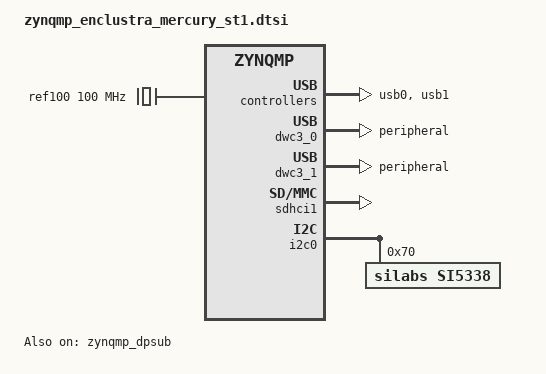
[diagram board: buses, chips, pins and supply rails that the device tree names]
#include <dt-bindings/clock/clk-si5338.h>
#include <dt-bindings/phy/phy.h>

&usb0 {
	status = "okay";
};

&usb1 {
	status = "okay";
};


&dwc3_0 {
	status = "okay";
	dr_mode = "peripheral";
	/delete-property/snps,usb3_lpm_capable;
  snps,usb2-lpm-disable;
  snps,dis_u2_susphy_quirk;
  snps,dis_u3_susphy_quirk;
	//phy-names = "usb3-phy";
	//phys = <&lane2 PHY_TYPE_USB3 0 2 100000000>;
  /delete-property/phy-names;
  /delete-property/phys;
	maximum-speed = "super-speed";
};

&dwc3_1 {
	status = "okay";
	dr_mode = "peripheral";
	/delete-property/snps,usb3_lpm_capable;
  snps,usb2-lpm-disable;
  snps,dis_u2_susphy_quirk;
  snps,dis_u3_susphy_quirk;
  /delete-property/phy-names;
  /delete-property/phys;
	//phy-names = "usb3-phy";
	//phys = <&lane3 PHY_TYPE_USB3 1 2 100000000>;
	maximum-speed = "super-speed";
	//maximum-speed = "super-speed";
};

/* SD1 with level shifter */
&sdhci1 {
	status = "okay";
	no-1-8-v;	/* for 1.0 silicon */
	wp-inverted;
	xlnx,mio_bank = <1>;
};

&amba {
	ref100: ref100M {
		compatible = "fixed-clock";
		#clock-cells = <0>;
		clock-frequency = <100000000>;
	};
};

&i2c0 {
	si5338@70 {
		compatible = "silabs,si5338";
		reg = <0x70>;
		#address-cells = <1>;
		#size-cells = <0>;
		#clock-cells = <1>;

		clocks = <0>, <0>, <&ref100>, <0>, <0>;
		clock-names = "xtal", "in12", "in3", "in4", "in56";

		silab,ref-source = <SI5338_REF_SRC_CLKIN3>;
		silab,fb-source = <SI5338_FB_SRC_NOCLK>;
		silab,pll-source = <SI5338_PFD_IN_REF_REFCLK>;

		/* output */
		clkout0 {
			reg = <0>;
			silabs,drive-config = "3V3_LVDS";
			silabs,clock-source = <SI5338_OUT_MUX_MSN>;
			silabs,disable-state = <SI5338_OUT_DIS_HIZ>;
			clock-frequency = <125000000>;
			/* enabled = "okay"; */
		};
		clkout1 {
			reg = <1>;
			silabs,drive-config = "3V3_LVDS";
			silabs,clock-source = <SI5338_OUT_MUX_MSN>;
			silabs,disable-state = <SI5338_OUT_DIS_HIZ>;
			clock-frequency = <125000000>;
			/* enabled = "okay"; */
		};
		clkout2 {
			reg = <2>;
			silabs,drive-config = "3V3_LVDS";
			silabs,clock-source = <SI5338_OUT_MUX_MSN>;
			silabs,disable-state = <SI5338_OUT_DIS_HIZ>;
			clock-frequency = <125000000>;
			/* enabled = "okay"; */
		};
		clkout3 {
			reg = <3>;
			silabs,drive-config = "3V3_LVDS";
			silabs,clock-source = <SI5338_OUT_MUX_MSN>;
			silabs,disable-state = <SI5338_OUT_DIS_HIZ>;
			clock-frequency = <125000000>;
			/* enabled = "okay"; */
		};
	};
};

&xlnx_dpdma {
	status = "okay";
};

&zynqmp_dpsub {
	status = "okay";
	phy-names = "dp-phy0", "dp-phy1";
	phys = <&lane1 PHY_TYPE_DP 0x0 0x3 27000000>, <&lane0 PHY_TYPE_DP 0x1 0x3 27000000>;
	dma-names = "vid0", "vid1", "vid2", "gfx0";
	dmas = <&xlnx_dpdma 0>, <&xlnx_dpdma 1>, <&xlnx_dpdma 2>, <&xlnx_dpdma 3>;
};
